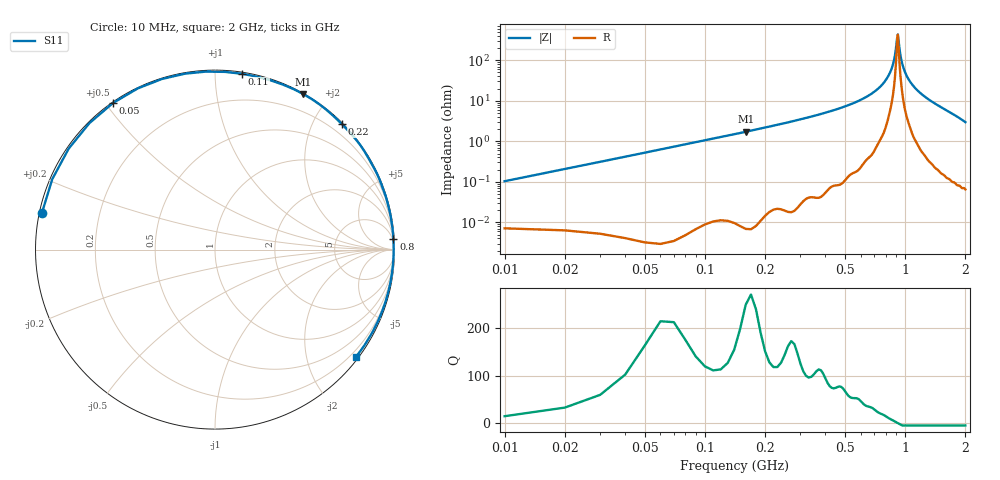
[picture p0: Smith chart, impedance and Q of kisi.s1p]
! H_s8_cap_10: PDN loop: BGA pin field to a 0402 capacitor 10 mm away
! stackup: 8-layer 1.6 mm FR-4 (generic)
! ports: 1 IC pins
! kisi-fdtd, conformal, dfine 0.07 mm, 600750 cells
# Hz S RI R 1
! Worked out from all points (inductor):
!   200 points, 10 MHz to 2 GHz, reference 1 ohm
!   read as one part to ground: L = 1.65 nH near 20 MHz
!   highest Q = 240 at 160 MHz (marker M1), where L = 1.71 nH
!   self-resonance near 910 MHz
!   S11 on the Smith chart (normalised r, x): 10 MHz: 0.01, +0.10; 50 MHz: 0.00, +0.52; 110 MHz: 0.01, +1.17; 220 MHz: 0.02, +2.43; 800 MHz: 2, +32; 2 GHz: 0.06, -2.96
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1e7  -0.9652 0.2016
2e7  -0.9068 0.3922
3e7  -0.8155 0.5622
4e7  -0.6996 0.7048
5e7  -0.5682 0.8167
6e7  -0.4308 0.8978
7e7  -0.295 0.9508
8e7  -0.1666 0.9803
9e7  -0.0489 0.9917
1.1e8  0.151 0.9796
1.3e8  0.3099 0.9429
1.6e8  0.492 0.8666
1.9e8  0.6193 0.7799
2.2e8  0.7058 0.7
2.6e8  0.7884 0.6091
3e8  0.8442 0.5281
3.7e8  0.9044 0.4178
4.3e8  0.9349 0.3417
5.1e8  0.9611 0.2606
6.2e8  0.9806 0.1727
7.6e8  0.9921 0.0841
8e8  0.9939 0.0615
1.01e9  0.9944 -0.0441
1.26e9  0.9817 -0.1591
1.51e9  0.9533 -0.2795
1.76e9  0.8968 -0.4214
1.9e9  0.8427 -0.5179
2e9  0.7854 -0.5975
